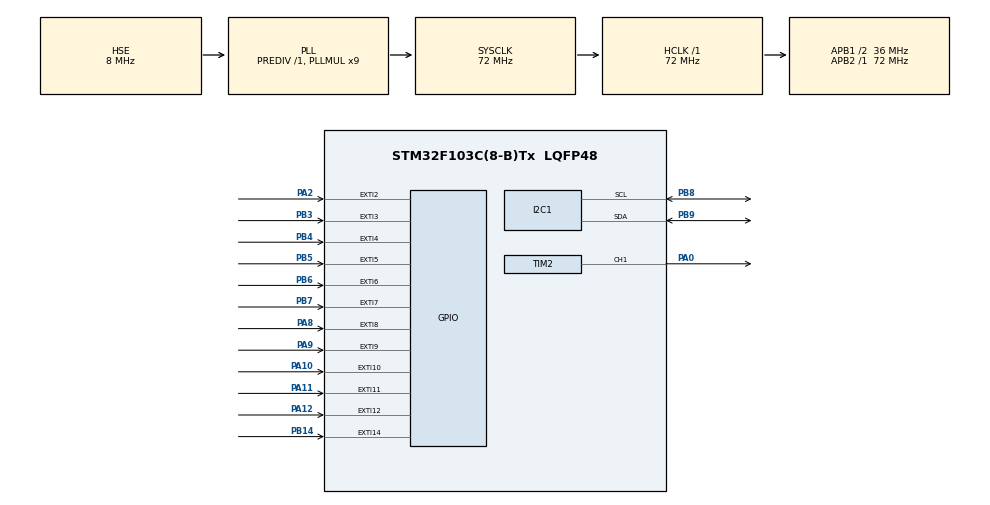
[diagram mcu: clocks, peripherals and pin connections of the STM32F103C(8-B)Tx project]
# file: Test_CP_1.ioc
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I2C1.I2C_Mode=I2C_Fast
Mcu.Family=STM32F1
Mcu.Name=STM32F103C(8-B)Tx
Mcu.Package=LQFP48
NVIC.EXTI15_10_IRQn=true\:0\:0\:false\:false\:true\:true\:true\:true
NVIC.EXTI2_IRQn=true\:0\:0\:false\:false\:true\:true\:true\:true
NVIC.EXTI3_IRQn=true\:0\:0\:false\:false\:true\:true\:true\:true
NVIC.EXTI4_IRQn=true\:0\:0\:false\:false\:true\:true\:true\:true
NVIC.EXTI9_5_IRQn=true\:0\:0\:false\:false\:true\:true\:true\:true
NVIC.PriorityGroup=NVIC_PRIORITYGROUP_4
NVIC.TIM2_IRQn=true\:0\:0\:false\:false\:true\:true\:true\:true
NVIC.TIM3_IRQn=true\:0\:0\:false\:false\:true\:true\:true\:true
PA0-WKUP.Signal=S_TIM2_CH1_ETR
PA10.GPIO_ModeDefaultEXTI=GPIO_MODE_IT_FALLING
PA10.GPIO_PuPd=GPIO_PULLUP
PA10.Signal=GPXTI10
PA11.GPIO_ModeDefaultEXTI=GPIO_MODE_IT_FALLING
PA11.GPIO_PuPd=GPIO_PULLUP
PA11.Signal=GPXTI11
PA12.GPIO_ModeDefaultEXTI=GPIO_MODE_IT_FALLING
PA12.GPIO_PuPd=GPIO_PULLUP
PA12.Signal=GPXTI12
PA13.Mode=Serial_Wire
PA13.Signal=SYS_JTMS-SWDIO
PA14.Mode=Serial_Wire
PA14.Signal=SYS_JTCK-SWCLK
PA2.GPIO_ModeDefaultEXTI=GPIO_MODE_IT_FALLING
PA2.GPIO_PuPd=GPIO_PULLUP
PA2.Signal=GPXTI2
PA8.GPIO_ModeDefaultEXTI=GPIO_MODE_IT_FALLING
PA8.GPIO_PuPd=GPIO_PULLUP
PA8.Signal=GPXTI8
PA9.GPIO_ModeDefaultEXTI=GPIO_MODE_IT_FALLING
PA9.GPIO_PuPd=GPIO_PULLUP
PA9.Signal=GPXTI9
PB14.GPIO_ModeDefaultEXTI=GPIO_MODE_IT_FALLING
PB14.GPIO_PuPd=GPIO_PULLUP
PB14.Signal=GPXTI14
PB3.GPIO_ModeDefaultEXTI=GPIO_MODE_IT_FALLING
PB3.GPIO_PuPd=GPIO_PULLUP
PB3.Signal=GPXTI3
PB4.GPIO_ModeDefaultEXTI=GPIO_MODE_IT_FALLING
PB4.GPIO_PuPd=GPIO_PULLUP
PB4.Signal=GPXTI4
PB5.GPIO_ModeDefaultEXTI=GPIO_MODE_IT_FALLING
PB5.GPIO_PuPd=GPIO_PULLUP
PB5.Signal=GPXTI5
PB6.GPIO_ModeDefaultEXTI=GPIO_MODE_IT_FALLING
PB6.GPIO_PuPd=GPIO_PULLUP
PB6.Signal=GPXTI6
PB7.GPIO_ModeDefaultEXTI=GPIO_MODE_IT_FALLING
PB7.GPIO_PuPd=GPIO_PULLUP
PB7.Signal=GPXTI7
PB8.Mode=I2C
PB8.Signal=I2C1_SCL
PB9.Mode=I2C
PB9.Signal=I2C1_SDA
PD0-OSC_IN.Mode=HSE-External-Oscillator
PD0-OSC_IN.Signal=RCC_OSC_IN
PD1-OSC_OUT.Mode=HSE-External-Oscillator
PD1-OSC_OUT.Signal=RCC_OSC_OUT
ProjectManager.HeapSize=0x200
ProjectManager.StackSize=0x400
ProjectManager.TargetToolchain=STM32CubeIDE
RCC.AHBFreq_Value=72000000
RCC.APB1CLKDivider=RCC_HCLK_DIV2
RCC.APB1Freq_Value=36000000
RCC.APB1TimFreq_Value=72000000
RCC.APB2Freq_Value=72000000
RCC.APB2TimFreq_Value=72000000
RCC.HCLKFreq_Value=72000000
RCC.PLLMUL=RCC_PLL_MUL9
RCC.PLLSourceVirtual=RCC_PLLSOURCE_HSE
RCC.SYSCLKFreq_VALUE=72000000
RCC.SYSCLKSource=RCC_SYSCLKSOURCE_PLLCLK
RCC.USBFreq_Value=72000000
SH.S_TIM2_CH1_ETR.0=TIM2_CH1,PWM Generation1 CH1
TIM2.Channel-PWM\ Generation1\ CH1=TIM_CHANNEL_1
TIM2.Period=65450
TIM2.Prescaler=22
TIM3.Period=65450
TIM3.Prescaler=22
VP_TIM3_VS_ClockSourceINT.Mode=Internal
board=custom

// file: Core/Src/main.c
/* USER CODE BEGIN Header */
/**
  ******************************************************************************
  * @file           : main.c
  * @brief          : Main program body
  ******************************************************************************
  * @attention
  *
  * <h2><center>&copy; Copyright (c) 2021 STMicroelectronics.
  * All rights reserved.</center></h2>
  *
  * This software component is licensed by ST under BSD 3-Clause license,
  * the "License"; You may not use this file except in compliance with the
  * License. You may obtain a copy of the License at:
  *                        opensource.org/licenses/BSD-3-Clause
  *
  ******************************************************************************
  */
/* USER CODE END Header */
#include "main.h"

/* USER CODE BEGIN Includes */
#include "ssd1306.h"
#include "fonts.h"
#include "test.h"

/* USER CODE END Includes */

 I2C_HandleTypeDef hi2c1;

TIM_HandleTypeDef htim2;
TIM_HandleTypeDef htim3;

/* USER CODE BEGIN PV */

uint16_t curentS = 10;
uint16_t pusword[4] = {1, 2, 3, 4};
uint16_t change_pusword[4] = {0};
uint16_t curent_pusword[4] = {0};
char simbol_pus [4];
uint16_t count = 0;
uint16_t flag = 0;
uint16_t flag_enter = 0;
uint16_t flag_change_pas = 0;
uint16_t FC = 0;

/* USER CODE END PV */

void SystemClock_Config(void);
static void MX_GPIO_Init(void);
static void MX_TIM2_Init(void);
static void MX_TIM3_Init(void);
static void MX_I2C1_Init(void);

/* USER CODE BEGIN 0 */

void ComparePusword(){

	for(int i = 0; i <= 3; ++i)
	{
		if (pusword[i] != curent_pusword[i])
		{
			TIM2->CCR1 = 1200;
			flag = 0;
			for(int i = 0; i <= 3; ++i)
				curent_pusword[i] = 10;
			return;
		}
	}
	TIM2->CCR1 = 7200;
	flag = 1;
	for(int i = 0; i <= 3; ++i)
		curent_pusword[i] = 10;
}

void EnterPusword()
{
	if (count > 4)
		count = 0;
	else{
		if(flag == 0){
			curent_pusword[count-1] = curentS;
		}
		else{
			pusword[count-1] = curentS;
		}
	}
}
/*
void ChangePusword()
{
	if (count > 4){
		count = 0;
	}
	else
		pusword[count-1] = curentS;
}*/
/*
void EnterPusword()
{
	if(flag == 0){
		if (count > 4)
			count = 0;
		else{
			curent_pusword[count-1] = curentS;
		}
	}
	else
	{
		if (count > 4){
			count = 0;
		}
		else
			pusword[count-1] = curentS;
	}
}
*/

/* USER CODE END 0 */

int main(void)
{

  /* MCU Configuration--------------------------------------------------------*/

  /* Reset of all peripherals, Initializes the Flash interface and the Systick. */
  HAL_Init();

  /* Configure the system clock */
  SystemClock_Config();

  /* Initialize all configured peripherals */
  MX_GPIO_Init();
  MX_TIM2_Init();
  MX_TIM3_Init();
  MX_I2C1_Init();
  /* USER CODE BEGIN 2 */

  SSD1306_Init (); // initialize the display
  SSD1306_Clear();
  SSD1306_GotoXY (10,10); // goto 10, 10
  HAL_TIM_PWM_Start_IT(&htim2, TIM_CHANNEL_1);
  TIM2->CCR1 = 1200;

  SSD1306_DrawFilledRectangle(1, 1, 128, 64, 0);
  SSD1306_GotoXY (10, 10); // goto 10, 10
  SSD1306_Puts ("CLOSE", &Font_11x18, 1);

  /* USER CODE END 2 */

  /* Infinite loop */
  while (1)
  {

    /* USER CODE BEGIN 3 */

	  EnterPusword();
	  if(flag_enter == 1)
	  {
		  ComparePusword();
		  flag_enter = 0;
	  }
	  if(flag == 1)
	  {
		  if (HAL_GPIO_ReadPin(GPIOB, GPIO_PIN_14) == 0){
			  while (flag_change_pas == 1){
				  SSD1306_DrawFilledRectangle(1, 1, 128, 64, 0);
				  SSD1306_GotoXY (10, 10); // goto 10, 10
				  SSD1306_Puts ("CHANGING", &Font_11x18, 1);
				  SSD1306_GotoXY (10, 30);
				  switch (count)
				  {
				  case 0:
					  SSD1306_Puts (" ", &Font_11x18, 1);
					  break;
				  case 1:
					  SSD1306_Puts ("#", &Font_11x18, 1);
					  break;
				  case 2:
					  SSD1306_Puts ("##", &Font_11x18, 1);
					  break;
				  case 3:
					  SSD1306_Puts ("###", &Font_11x18, 1);
					  break;
				  case 4:
					  SSD1306_Puts ("####", &Font_11x18, 1);
					  break;
				  }
				  SSD1306_UpdateScreen();
				  SSD1306_DrawFilledRectangle(1, 1, 128, 64, 0);

				  //ChangePusword();
				  EnterPusword();
			  }
		  }
		  else{
			  SSD1306_DrawFilledRectangle(1, 1, 128, 64, 0);
			  SSD1306_GotoXY (10, 10); // goto 10, 10
			  SSD1306_Puts ("OPEN", &Font_11x18, 1);
			  SSD1306_GotoXY (10, 30);
			  SSD1306_Puts (simbol_pus, &Font_11x18, 1);
			  SSD1306_UpdateScreen();
			  SSD1306_DrawFilledRectangle(1, 1, 128, 64, 0);
			  //SSD1306_Clear();
			  /*if(flag_enter == 1)
			  {
				  flag_enter = 0;
			  }*/
		  }

	  	}
	  	else
	  	{
	  		if(flag_change_pas == 1){
	  			flag_change_pas = 0;
	  		}
	  		SSD1306_DrawFilledRectangle(1, 1, 128, 64, 0);
	  		SSD1306_GotoXY (10, 10); // goto 10, 10
	  		SSD1306_Puts ("CLOSE", &Font_11x18, 1);
	  		SSD1306_GotoXY (10, 30);
	  		switch (count)
	  		{
	  		case 0:
	  			SSD1306_Puts (" ", &Font_11x18, 1);
	  			break;
	  		case 1:
	  			SSD1306_Puts ("#", &Font_11x18, 1);
	  			break;
	  		case 2:;
	  			SSD1306_Puts ("##", &Font_11x18, 1);
	  			break;
	  		case 3:
	  			SSD1306_Puts ("###", &Font_11x18, 1);
	  			break;
	  		case 4:
	  			SSD1306_Puts ("####", &Font_11x18, 1);
	  			break;
	  		}
	  		SSD1306_UpdateScreen();
	  		//SSD1306_Clear();
	  		SSD1306_DrawFilledRectangle(1, 1, 128, 64, 0);
	  	}

  }
  /* USER CODE END 3 */
}

void SystemClock_Config(void)
{
  RCC_OscInitTypeDef RCC_OscInitStruct = {0};
  RCC_ClkInitTypeDef RCC_ClkInitStruct = {0};

  /** Initializes the RCC Oscillators according to the specified parameters
  * in the RCC_OscInitTypeDef structure.
  */
  RCC_OscInitStruct.OscillatorType = RCC_OSCILLATORTYPE_HSE;
  RCC_OscInitStruct.HSEState = RCC_HSE_ON;
  RCC_OscInitStruct.HSEPredivValue = RCC_HSE_PREDIV_DIV1;
  RCC_OscInitStruct.HSIState = RCC_HSI_ON;
  RCC_OscInitStruct.PLL.PLLState = RCC_PLL_ON;
  RCC_OscInitStruct.PLL.PLLSource = RCC_PLLSOURCE_HSE;
  RCC_OscInitStruct.PLL.PLLMUL = RCC_PLL_MUL9;
  if (HAL_RCC_OscConfig(&RCC_OscInitStruct) != HAL_OK)
  {
    Error_Handler();
  }

  /** Initializes the CPU, AHB and APB buses clocks
  */
  RCC_ClkInitStruct.ClockType = RCC_CLOCKTYPE_HCLK|RCC_CLOCKTYPE_SYSCLK
                              |RCC_CLOCKTYPE_PCLK1|RCC_CLOCKTYPE_PCLK2;
  RCC_ClkInitStruct.SYSCLKSource = RCC_SYSCLKSOURCE_PLLCLK;
  RCC_ClkInitStruct.AHBCLKDivider = RCC_SYSCLK_DIV1;
  RCC_ClkInitStruct.APB1CLKDivider = RCC_HCLK_DIV2;
  RCC_ClkInitStruct.APB2CLKDivider = RCC_HCLK_DIV1;

  if (HAL_RCC_ClockConfig(&RCC_ClkInitStruct, FLASH_LATENCY_2) != HAL_OK)
  {
    Error_Handler();
  }
}

static void MX_I2C1_Init(void)
{

  hi2c1.Instance = I2C1;
  hi2c1.Init.ClockSpeed = 400000;
  hi2c1.Init.DutyCycle = I2C_DUTYCYCLE_2;
  hi2c1.Init.OwnAddress1 = 0;
  hi2c1.Init.AddressingMode = I2C_ADDRESSINGMODE_7BIT;
  hi2c1.Init.DualAddressMode = I2C_DUALADDRESS_DISABLE;
  hi2c1.Init.OwnAddress2 = 0;
  hi2c1.Init.GeneralCallMode = I2C_GENERALCALL_DISABLE;
  hi2c1.Init.NoStretchMode = I2C_NOSTRETCH_DISABLE;
  if (HAL_I2C_Init(&hi2c1) != HAL_OK)
  {
    Error_Handler();
  }

}

static void MX_TIM2_Init(void)
{

  TIM_MasterConfigTypeDef sMasterConfig = {0};
  TIM_OC_InitTypeDef sConfigOC = {0};

  htim2.Instance = TIM2;
  htim2.Init.Prescaler = 22;
  htim2.Init.CounterMode = TIM_COUNTERMODE_UP;
  htim2.Init.Period = 65450;
  htim2.Init.ClockDivision = TIM_CLOCKDIVISION_DIV1;
  htim2.Init.AutoReloadPreload = TIM_AUTORELOAD_PRELOAD_DISABLE;
  if (HAL_TIM_PWM_Init(&htim2) != HAL_OK)
  {
    Error_Handler();
  }
  sMasterConfig.MasterOutputTrigger = TIM_TRGO_RESET;
  sMasterConfig.MasterSlaveMode = TIM_MASTERSLAVEMODE_DISABLE;
  if (HAL_TIMEx_MasterConfigSynchronization(&htim2, &sMasterConfig) != HAL_OK)
  {
    Error_Handler();
  }
  sConfigOC.OCMode = TIM_OCMODE_PWM1;
  sConfigOC.Pulse = 0;
  sConfigOC.OCPolarity = TIM_OCPOLARITY_HIGH;
  sConfigOC.OCFastMode = TIM_OCFAST_DISABLE;
  if (HAL_TIM_PWM_ConfigChannel(&htim2, &sConfigOC, TIM_CHANNEL_1) != HAL_OK)
  {
    Error_Handler();
  }
  HAL_TIM_MspPostInit(&htim2);

}

static void MX_TIM3_Init(void)
{

  TIM_ClockConfigTypeDef sClockSourceConfig = {0};
  TIM_MasterConfigTypeDef sMasterConfig = {0};

  htim3.Instance = TIM3;
  htim3.Init.Prescaler = 22;
  htim3.Init.CounterMode = TIM_COUNTERMODE_UP;
  htim3.Init.Period = 65450;
  htim3.Init.ClockDivision = TIM_CLOCKDIVISION_DIV1;
  htim3.Init.AutoReloadPreload = TIM_AUTORELOAD_PRELOAD_DISABLE;
  if (HAL_TIM_Base_Init(&htim3) != HAL_OK)
  {
    Error_Handler();
  }
  sClockSourceConfig.ClockSource = TIM_CLOCKSOURCE_INTERNAL;
  if (HAL_TIM_ConfigClockSource(&htim3, &sClockSourceConfig) != HAL_OK)
  {
    Error_Handler();
  }
  sMasterConfig.MasterOutputTrigger = TIM_TRGO_RESET;
  sMasterConfig.MasterSlaveMode = TIM_MASTERSLAVEMODE_DISABLE;
  if (HAL_TIMEx_MasterConfigSynchronization(&htim3, &sMasterConfig) != HAL_OK)
  {
    Error_Handler();
  }

}

static void MX_GPIO_Init(void)
{
  GPIO_InitTypeDef GPIO_InitStruct = {0};

  /* GPIO Ports Clock Enable */
  __HAL_RCC_GPIOD_CLK_ENABLE();
  __HAL_RCC_GPIOA_CLK_ENABLE();
  __HAL_RCC_GPIOB_CLK_ENABLE();

  /*Configure GPIO pins : PA2 PA8 PA9 PA10
                           PA11 PA12 */
  GPIO_InitStruct.Pin = GPIO_PIN_2|GPIO_PIN_8|GPIO_PIN_9|GPIO_PIN_10
                          |GPIO_PIN_11|GPIO_PIN_12;
  GPIO_InitStruct.Mode = GPIO_MODE_IT_FALLING;
  GPIO_InitStruct.Pull = GPIO_PULLUP;
  HAL_GPIO_Init(GPIOA, &GPIO_InitStruct);

  /*Configure GPIO pins : PB14 PB3 PB4 PB5
                           PB6 PB7 */
  GPIO_InitStruct.Pin = GPIO_PIN_14|GPIO_PIN_3|GPIO_PIN_4|GPIO_PIN_5
                          |GPIO_PIN_6|GPIO_PIN_7;
  GPIO_InitStruct.Mode = GPIO_MODE_IT_FALLING;
  GPIO_InitStruct.Pull = GPIO_PULLUP;
  HAL_GPIO_Init(GPIOB, &GPIO_InitStruct);

  /* EXTI interrupt init*/
  HAL_NVIC_SetPriority(EXTI2_IRQn, 0, 0);
  HAL_NVIC_EnableIRQ(EXTI2_IRQn);

  HAL_NVIC_SetPriority(EXTI3_IRQn, 0, 0);
  HAL_NVIC_EnableIRQ(EXTI3_IRQn);

  HAL_NVIC_SetPriority(EXTI4_IRQn, 0, 0);
  HAL_NVIC_EnableIRQ(EXTI4_IRQn);

  HAL_NVIC_SetPriority(EXTI9_5_IRQn, 0, 0);
  HAL_NVIC_EnableIRQ(EXTI9_5_IRQn);

  HAL_NVIC_SetPriority(EXTI15_10_IRQn, 0, 0);
  HAL_NVIC_EnableIRQ(EXTI15_10_IRQn);

}

/* USER CODE BEGIN 4 */

/*штука яка повиннв обробляти переривання*/
void HAL_GPIO_EXTI_Callback(uint16_t GPIO_Pin){
	if(GPIO_Pin == GPIO_PIN_6 || GPIO_Pin == GPIO_PIN_5 || GPIO_Pin == GPIO_PIN_4 || GPIO_Pin == GPIO_PIN_3 || GPIO_Pin == GPIO_PIN_2 || GPIO_Pin == GPIO_PIN_12 || GPIO_Pin == GPIO_PIN_11 || GPIO_Pin == GPIO_PIN_10 || GPIO_Pin == GPIO_PIN_9 || GPIO_Pin == GPIO_PIN_8 || GPIO_Pin == GPIO_PIN_7 || GPIO_Pin == GPIO_PIN_14)
	{
		//flag = 1;
		HAL_NVIC_DisableIRQ(EXTI15_10_IRQn); // сразу же отключаем прерывания на этом пине
		HAL_NVIC_DisableIRQ(EXTI9_5_IRQn);
		HAL_NVIC_DisableIRQ(EXTI4_IRQn);
		HAL_NVIC_DisableIRQ(EXTI3_IRQn);
		HAL_NVIC_DisableIRQ(EXTI2_IRQn);
		// либо выполняем какое-то действие прямо тут, либо поднимаем флажок
		HAL_TIM_Base_Start_IT(&htim3); // запускаем таймер

	} else {
		//flag = 0;
		//__NOP();

	}
}

void HAL_TIM_PeriodElapsedCallback(TIM_HandleTypeDef *htim)
{
	if(htim->Instance == TIM3)
	{
		HAL_TIM_Base_Stop_IT(&htim3); // останавливаем таймер
		__HAL_GPIO_EXTI_CLEAR_IT(GPIO_PIN_6);  // очищаем бит EXTI_PR (бит прерывания)
		__HAL_GPIO_EXTI_CLEAR_IT(GPIO_PIN_5);
		__HAL_GPIO_EXTI_CLEAR_IT(GPIO_PIN_4);
		__HAL_GPIO_EXTI_CLEAR_IT(GPIO_PIN_3);
		__HAL_GPIO_EXTI_CLEAR_IT(GPIO_PIN_13);
		__HAL_GPIO_EXTI_CLEAR_IT(GPIO_PIN_12);
		__HAL_GPIO_EXTI_CLEAR_IT(GPIO_PIN_11);
		__HAL_GPIO_EXTI_CLEAR_IT(GPIO_PIN_10);
		__HAL_GPIO_EXTI_CLEAR_IT(GPIO_PIN_9);
		__HAL_GPIO_EXTI_CLEAR_IT(GPIO_PIN_8);
		__HAL_GPIO_EXTI_CLEAR_IT(GPIO_PIN_7);
		__HAL_GPIO_EXTI_CLEAR_IT(GPIO_PIN_14);

		NVIC_ClearPendingIRQ(EXTI15_10_IRQn); // очищаем бит NVIC_ICPRx (бит очереди)
		NVIC_ClearPendingIRQ(EXTI9_5_IRQn);
		NVIC_ClearPendingIRQ(EXTI4_IRQn);
		NVIC_ClearPendingIRQ(EXTI3_IRQn);
		NVIC_ClearPendingIRQ(EXTI2_IRQn);
		HAL_NVIC_EnableIRQ(EXTI15_10_IRQn);   // включаем внешнее прерывание
		HAL_NVIC_EnableIRQ(EXTI9_5_IRQn);
		HAL_NVIC_EnableIRQ(EXTI4_IRQn);
		HAL_NVIC_EnableIRQ(EXTI3_IRQn);
		HAL_NVIC_EnableIRQ(EXTI2_IRQn);
		if(HAL_GPIO_ReadPin(GPIOB, GPIO_PIN_6) == 0){
			curentS = 1;
			count ++;
		}
		if(HAL_GPIO_ReadPin(GPIOB, GPIO_PIN_5) == 0){
			curentS = 2;
			count ++;
		}
		if(HAL_GPIO_ReadPin(GPIOB, GPIO_PIN_4) == 0){
			curentS = 3;
			count ++;
		}
		if(HAL_GPIO_ReadPin(GPIOB, GPIO_PIN_3) == 0){
			curentS = 4;
			count ++;
		}
		if(HAL_GPIO_ReadPin(GPIOA, GPIO_PIN_2) == 0){
			curentS = 5;
			count ++;
		}
		if(HAL_GPIO_ReadPin(GPIOA, GPIO_PIN_12) == 0){
			curentS = 6;
			count ++;
		}
		if(HAL_GPIO_ReadPin(GPIOA, GPIO_PIN_11) == 0){
			curentS = 7;
			count ++;
		}
		if(HAL_GPIO_ReadPin(GPIOA, GPIO_PIN_10) == 0){
			curentS = 8;
			count ++;
		}
		if(HAL_GPIO_ReadPin(GPIOA, GPIO_PIN_9) == 0){
			curentS = 9;
			count ++;
		}
		if(HAL_GPIO_ReadPin(GPIOA, GPIO_PIN_8) == 0){
			curentS = 0;
			count ++;
		}
		if(HAL_GPIO_ReadPin(GPIOB, GPIO_PIN_7) == 0){
			flag_enter = 1;
			count = 0;
		}//enter
		if(HAL_GPIO_ReadPin(GPIOB, GPIO_PIN_14) == 0){
			if(flag_change_pas == 1){
				flag_change_pas = 0;
			}
			else
				flag_change_pas = 1;
		}

	}
}

/* USER CODE END 4 */

void Error_Handler(void)
{
  __disable_irq();
  while (1)
  {
  }
}
